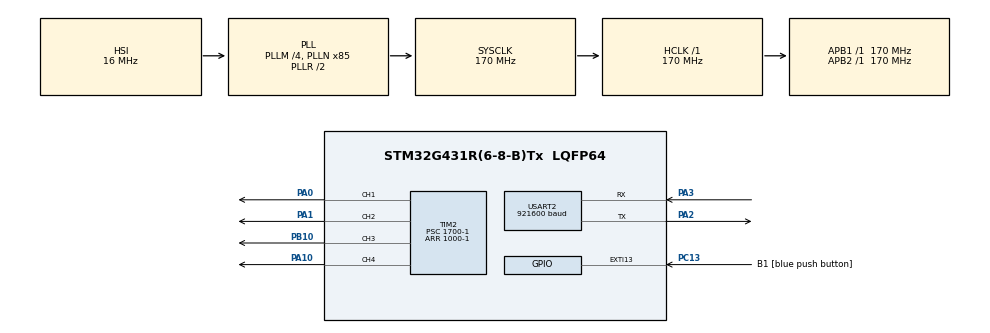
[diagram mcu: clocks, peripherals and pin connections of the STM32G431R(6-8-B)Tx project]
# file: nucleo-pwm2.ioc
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Mcu.Family=STM32G4
Mcu.Name=STM32G431R(6-8-B)Tx
Mcu.Package=LQFP64
NVIC.PriorityGroup=NVIC_PRIORITYGROUP_4
NVIC.USART2_IRQn=true\:0\:0\:false\:false\:true\:true\:true\:true
PA0.Signal=S_TIM2_CH1
PA1.Signal=S_TIM2_CH2
PA10.Signal=S_TIM2_CH4
PA13.GPIO_Label=T_SWDIO
PA13.Signal=SYS_JTMS-SWDIO
PA14.GPIO_Label=T_SWCLK
PA14.Signal=SYS_JTCK-SWCLK
PA2.Mode=Asynchronous
PA2.Signal=USART2_TX
PA3.Mode=Asynchronous
PA3.Signal=USART2_RX
PB10.Signal=S_TIM2_CH3
PB3.GPIO_Label=T_SWO
PB3.Signal=SYS_JTDO-SWO
PC13.GPIO_Label=B1 [blue push button]
PC13.Signal=GPXTI13
PC14-OSC32_IN.GPIO_Label=RCC_OSC32_OUT
PC14-OSC32_IN.Signal=RCC_OSC32_IN
PC15-OSC32_OUT.GPIO_Label=RCC_OSC32_OUT
PC15-OSC32_OUT.Signal=RCC_OSC32_OUT
PF0-OSC_IN.GPIO_Label=RCC_OSC_IN
PF0-OSC_IN.Signal=RCC_OSC_IN
PF1-OSC_OUT.GPIO_Label=RCC_OSC_OUT
PF1-OSC_OUT.Signal=RCC_OSC_OUT
ProjectManager.HeapSize=0x200
ProjectManager.StackSize=0x400
ProjectManager.TargetToolchain=STM32CubeIDE
RCC.ADC12Freq_Value=170000000
RCC.AHBFreq_Value=170000000
RCC.APB1Freq_Value=170000000
RCC.APB1TimFreq_Value=170000000
RCC.APB2Freq_Value=170000000
RCC.APB2TimFreq_Value=170000000
RCC.CortexFreq_Value=170000000
RCC.EXTERNAL_CLOCK_VALUE=12288000
RCC.HCLKFreq_Value=170000000
RCC.HSE_VALUE=24000000
RCC.HSI48_VALUE=48000000
RCC.HSI_VALUE=16000000
RCC.LSE_VALUE=32768
RCC.PLLM=RCC_PLLM_DIV4
RCC.PLLN=85
RCC.RTCClockSelection=RCC_RTCCLKSOURCE_LSE
RCC.SYSCLKFreq_VALUE=170000000
RCC.SYSCLKSource=RCC_SYSCLKSOURCE_PLLCLK
RCC.USBFreq_Value=170000000
RCC.VCOOutputFreq_Value=340000000
SH.S_TIM2_CH1.0=TIM2_CH1,PWM Generation1 CH1
SH.S_TIM2_CH2.0=TIM2_CH2,PWM Generation2 CH2
SH.S_TIM2_CH3.0=TIM2_CH3,PWM Generation3 CH3
SH.S_TIM2_CH4.0=TIM2_CH4,PWM Generation4 CH4
TIM2.Channel-PWM\ Generation1\ CH1=TIM_CHANNEL_1
TIM2.Channel-PWM\ Generation2\ CH2=TIM_CHANNEL_2
TIM2.Channel-PWM\ Generation3\ CH3=TIM_CHANNEL_3
TIM2.Channel-PWM\ Generation4\ CH4=TIM_CHANNEL_4
TIM2.PeriodNoDither=1000-1
TIM2.Prescaler=1700-1
USART2.BaudRate=921600
USART2.VirtualMode-Asynchronous=VM_ASYNC
VP_SYS_VS_DBSignals.Mode=DisableDeadBatterySignals
VP_TIM2_VS_ClockSourceINT.Mode=Internal
board=NUCLEO-G431RB

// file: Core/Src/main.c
/* USER CODE BEGIN Header */
/**
  ******************************************************************************
  * @file           : main.c
  * @brief          : Main program body
  ******************************************************************************
  * @attention
  *
  * Copyright (c) 2025 STMicroelectronics.
  * All rights reserved.
  *
  * This software is licensed under terms that can be found in the LICENSE file
  * in the root directory of this software component.
  * If no LICENSE file comes with this software, it is provided AS-IS.
  *
  ******************************************************************************
  */
/* USER CODE END Header */
#include "main.h"

/* USER CODE BEGIN Includes */
#include <stdio.h>

/* USER CODE END Includes */

TIM_HandleTypeDef htim2;

UART_HandleTypeDef huart2;

void SystemClock_Config(void);
static void MX_GPIO_Init(void);
static void MX_USART2_UART_Init(void);
static void MX_TIM2_Init(void);

/* USER CODE BEGIN 0 */
// Send printf to uart1
int _write(int fd, char* ptr, int len)
{
  HAL_StatusTypeDef hstatus;

  if (fd == 1 || fd == 2) {
    hstatus = HAL_UART_Transmit(&huart2, (uint8_t *) ptr, len, HAL_MAX_DELAY);
    if (hstatus == HAL_OK)
      return len;
    else
      return -1;
  }
  return -1;
}

inline uint32_t HAL_GetTick(void)
{
  return uwTick;
}

/* USER CODE END 0 */

int main(void)
{

  /* MCU Configuration--------------------------------------------------------*/

  /* Reset of all peripherals, Initializes the Flash interface and the Systick. */
  HAL_Init();

  /* Configure the system clock */
  SystemClock_Config();

  /* Initialize all configured peripherals */
  MX_GPIO_Init();
  MX_USART2_UART_Init();
  MX_TIM2_Init();
  /* USER CODE BEGIN 2 */
  printf("\n\n\r");
  printf("Starting Nucleo-PWM2\n\r");
  printf("--------------------\n\r");

  printf("Starting timer channel\n\r");
  HAL_TIM_PWM_Start(&htim2, TIM_CHANNEL_1);
  HAL_TIM_PWM_Start(&htim2, TIM_CHANNEL_2);
  HAL_TIM_PWM_Start(&htim2, TIM_CHANNEL_3);
  HAL_TIM_PWM_Start(&htim2, TIM_CHANNEL_4);

  /* USER CODE END 2 */

  /* Infinite loop */
  /* USER CODE BEGIN WHILE */
  uint32_t now = 0;
  uint32_t next_tick = 1000;
  uint32_t loop_count = 0;
  uint32_t next_change = 0;

  uint16_t pwm_value = 0;
  int8_t pwm_change = 1;

  while (1)
  {
	  // Redefining HAL_GetTick() in main.c and using "inline" should give me better performance.
	  // but for some reason it is not. Using now = uwTick gets me better results even though
	  // they should be the same.

	  //now = HAL_GetTick();
	  now = uwTick;

	  if(now >= next_tick) {
		  printf("Tick %lu (loop = %lu)\n\r", now / 1000, loop_count);
		  printf("PWM value %u\n\r", pwm_value);

		  loop_count = 0;
		  next_tick = now + 1000;
	  }

	  if(now >= next_change) {

		  __HAL_TIM_SET_COMPARE(&htim2, TIM_CHANNEL_1, 1000 - pwm_value);
		  __HAL_TIM_SET_COMPARE(&htim2, TIM_CHANNEL_2, pwm_value);
		  __HAL_TIM_SET_COMPARE(&htim2, TIM_CHANNEL_3, 1000 - pwm_value);
		  __HAL_TIM_SET_COMPARE(&htim2, TIM_CHANNEL_4, pwm_value);

		  pwm_value += pwm_change;

		  if(pwm_value == 0) pwm_change = 1;
		  if(pwm_value == 1000) pwm_change = -1;

		  next_change = now + 10;
	  }

	  ++loop_count;

    /* USER CODE END WHILE */

  }
}

void SystemClock_Config(void)
{
  RCC_OscInitTypeDef RCC_OscInitStruct = {0};
  RCC_ClkInitTypeDef RCC_ClkInitStruct = {0};

  /** Configure the main internal regulator output voltage
  */
  HAL_PWREx_ControlVoltageScaling(PWR_REGULATOR_VOLTAGE_SCALE1_BOOST);

  /** Initializes the RCC Oscillators according to the specified parameters
  * in the RCC_OscInitTypeDef structure.
  */
  RCC_OscInitStruct.OscillatorType = RCC_OSCILLATORTYPE_HSI;
  RCC_OscInitStruct.HSIState = RCC_HSI_ON;
  RCC_OscInitStruct.HSICalibrationValue = RCC_HSICALIBRATION_DEFAULT;
  RCC_OscInitStruct.PLL.PLLState = RCC_PLL_ON;
  RCC_OscInitStruct.PLL.PLLSource = RCC_PLLSOURCE_HSI;
  RCC_OscInitStruct.PLL.PLLM = RCC_PLLM_DIV4;
  RCC_OscInitStruct.PLL.PLLN = 85;
  RCC_OscInitStruct.PLL.PLLP = RCC_PLLP_DIV2;
  RCC_OscInitStruct.PLL.PLLQ = RCC_PLLQ_DIV2;
  RCC_OscInitStruct.PLL.PLLR = RCC_PLLR_DIV2;
  if (HAL_RCC_OscConfig(&RCC_OscInitStruct) != HAL_OK)
  {
    Error_Handler();
  }

  /** Initializes the CPU, AHB and APB buses clocks
  */
  RCC_ClkInitStruct.ClockType = RCC_CLOCKTYPE_HCLK|RCC_CLOCKTYPE_SYSCLK
                              |RCC_CLOCKTYPE_PCLK1|RCC_CLOCKTYPE_PCLK2;
  RCC_ClkInitStruct.SYSCLKSource = RCC_SYSCLKSOURCE_PLLCLK;
  RCC_ClkInitStruct.AHBCLKDivider = RCC_SYSCLK_DIV1;
  RCC_ClkInitStruct.APB1CLKDivider = RCC_HCLK_DIV1;
  RCC_ClkInitStruct.APB2CLKDivider = RCC_HCLK_DIV1;

  if (HAL_RCC_ClockConfig(&RCC_ClkInitStruct, FLASH_LATENCY_4) != HAL_OK)
  {
    Error_Handler();
  }
}

static void MX_TIM2_Init(void)
{

  TIM_ClockConfigTypeDef sClockSourceConfig = {0};
  TIM_MasterConfigTypeDef sMasterConfig = {0};
  TIM_OC_InitTypeDef sConfigOC = {0};

  htim2.Instance = TIM2;
  htim2.Init.Prescaler = 1700-1;
  htim2.Init.CounterMode = TIM_COUNTERMODE_UP;
  htim2.Init.Period = 999;
  htim2.Init.ClockDivision = TIM_CLOCKDIVISION_DIV1;
  htim2.Init.AutoReloadPreload = TIM_AUTORELOAD_PRELOAD_DISABLE;
  if (HAL_TIM_Base_Init(&htim2) != HAL_OK)
  {
    Error_Handler();
  }
  sClockSourceConfig.ClockSource = TIM_CLOCKSOURCE_INTERNAL;
  if (HAL_TIM_ConfigClockSource(&htim2, &sClockSourceConfig) != HAL_OK)
  {
    Error_Handler();
  }
  if (HAL_TIM_PWM_Init(&htim2) != HAL_OK)
  {
    Error_Handler();
  }
  sMasterConfig.MasterOutputTrigger = TIM_TRGO_RESET;
  sMasterConfig.MasterSlaveMode = TIM_MASTERSLAVEMODE_DISABLE;
  if (HAL_TIMEx_MasterConfigSynchronization(&htim2, &sMasterConfig) != HAL_OK)
  {
    Error_Handler();
  }
  sConfigOC.OCMode = TIM_OCMODE_PWM1;
  sConfigOC.Pulse = 0;
  sConfigOC.OCPolarity = TIM_OCPOLARITY_HIGH;
  sConfigOC.OCFastMode = TIM_OCFAST_DISABLE;
  if (HAL_TIM_PWM_ConfigChannel(&htim2, &sConfigOC, TIM_CHANNEL_1) != HAL_OK)
  {
    Error_Handler();
  }
  if (HAL_TIM_PWM_ConfigChannel(&htim2, &sConfigOC, TIM_CHANNEL_2) != HAL_OK)
  {
    Error_Handler();
  }
  if (HAL_TIM_PWM_ConfigChannel(&htim2, &sConfigOC, TIM_CHANNEL_3) != HAL_OK)
  {
    Error_Handler();
  }
  if (HAL_TIM_PWM_ConfigChannel(&htim2, &sConfigOC, TIM_CHANNEL_4) != HAL_OK)
  {
    Error_Handler();
  }
  HAL_TIM_MspPostInit(&htim2);

}

static void MX_USART2_UART_Init(void)
{

  huart2.Instance = USART2;
  huart2.Init.BaudRate = 921600;
  huart2.Init.WordLength = UART_WORDLENGTH_8B;
  huart2.Init.StopBits = UART_STOPBITS_1;
  huart2.Init.Parity = UART_PARITY_NONE;
  huart2.Init.Mode = UART_MODE_TX_RX;
  huart2.Init.HwFlowCtl = UART_HWCONTROL_NONE;
  huart2.Init.OverSampling = UART_OVERSAMPLING_16;
  huart2.Init.OneBitSampling = UART_ONE_BIT_SAMPLE_DISABLE;
  huart2.Init.ClockPrescaler = UART_PRESCALER_DIV1;
  huart2.AdvancedInit.AdvFeatureInit = UART_ADVFEATURE_NO_INIT;
  if (HAL_UART_Init(&huart2) != HAL_OK)
  {
    Error_Handler();
  }
  if (HAL_UARTEx_SetTxFifoThreshold(&huart2, UART_TXFIFO_THRESHOLD_1_8) != HAL_OK)
  {
    Error_Handler();
  }
  if (HAL_UARTEx_SetRxFifoThreshold(&huart2, UART_RXFIFO_THRESHOLD_1_8) != HAL_OK)
  {
    Error_Handler();
  }
  if (HAL_UARTEx_DisableFifoMode(&huart2) != HAL_OK)
  {
    Error_Handler();
  }

}

static void MX_GPIO_Init(void)
{
  GPIO_InitTypeDef GPIO_InitStruct = {0};

  /* GPIO Ports Clock Enable */
  __HAL_RCC_GPIOC_CLK_ENABLE();
  __HAL_RCC_GPIOF_CLK_ENABLE();
  __HAL_RCC_GPIOA_CLK_ENABLE();
  __HAL_RCC_GPIOB_CLK_ENABLE();

  /*Configure GPIO pin : B1_Pin */
  GPIO_InitStruct.Pin = B1_Pin;
  GPIO_InitStruct.Mode = GPIO_MODE_IT_RISING;
  GPIO_InitStruct.Pull = GPIO_NOPULL;
  HAL_GPIO_Init(B1_GPIO_Port, &GPIO_InitStruct);

}

void Error_Handler(void)
{
  __disable_irq();
  while (1)
  {
  }
}
